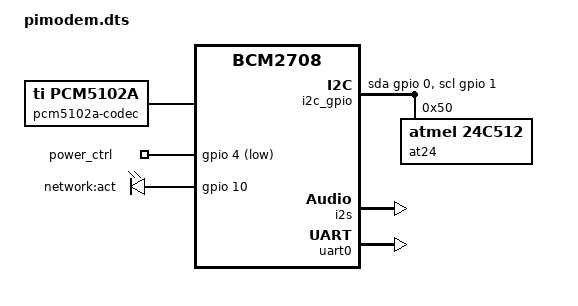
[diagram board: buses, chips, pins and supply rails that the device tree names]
// Definitions for PiModem HAT
/dts-v1/;
/plugin/;

/ {
	compatible = "brcm,bcm2708";

	fragment@0 {
		target = <&i2s>;
		__overlay__ {
			status = "okay";
		};
	};

	fragment@1 {
		target-path = "/";
		__overlay__ {
			pcm5102a-codec {
				#sound-dai-cells = <0>;
				compatible = "ti,pcm5102a";
				status = "okay";
			};
		};
	};

	fragment@2 {
		target = <&sound>;
		__overlay__ {
			compatible = "hifiberry,hifiberry-dac";
			i2s-controller = <&i2s>;
			status = "okay";
		};
	};

	fragment@3 {
		target = <&uart0>;
		__overlay__ {
			pinctrl-names = "default";
			pinctrl-0 = <&uart0_pins>;
			status = "okay";
		};
	};

	fragment@4 {
		target = <&gpio>;
		__overlay__ {
			uart0_pins: uart0_pins {
				brcm,pins = <14 15 16 17>; /* UART0: TX,RX,CTS,RTS */
				brcm,function = <4 4 7 7>;
				brcm,pull = <0 2 0 0>;
			};
		};
	};

	fragment@5 {
		target-path = "/";
		__overlay__ {
			power_ctrl: power_ctrl {
				compatible = "gpio-poweroff";
				gpios = <&gpio 4 1>;
				force;
			};
		};
	};

	fragment@6 {
		target = <&gpio>;
		__overlay__ {
			power_ctrl_pins: power_ctrl_pins {
				brcm,pins = <4>;
				brcm,function = <1>; // out
			};
		};
	};

	fragment@7 {
		target-path = "/";
		__overlay__ {
			i2c_gpio: i2c@0 {
				compatible = "i2c-gpio";
				gpios = <&gpio 0 0 /* sda */
					 &gpio 1 0 /* scl */
					>;
				i2c-gpio,delay-us = <2>;        /* ~100 kHz */
				#address-cells = <1>;
				#size-cells = <0>;
				at24: at24@50 {
					compatible = "atmel,24c512";
					reg = <0x50>;
				};
			};
		};
	};

	fragment@8 {
		target-path = "/aliases";
		__overlay__ {
			i2c_gpio = "/i2c@0";
		};
	};

	fragment@9 {
		target-path = "/__symbols__";
		__overlay__ {
			i2c_gpio = "/i2c@0";
		};
	};

	fragment@10 {
		target = <&act_led>;
		__overlay__ {
			label = "network:act";
			linux,default-trigger = "none";
			gpios = <&gpio 10 0>;
		};
	};
};
